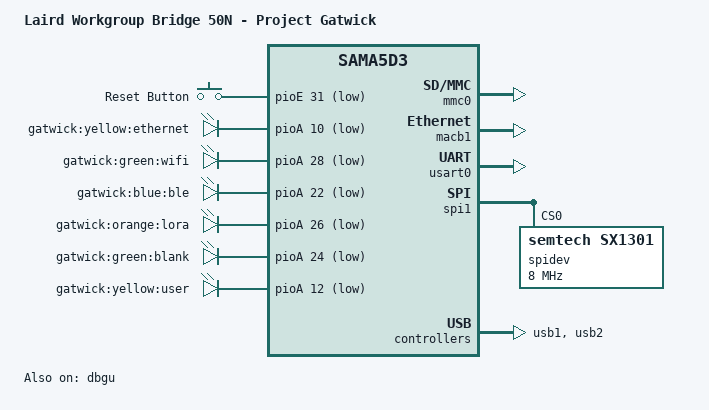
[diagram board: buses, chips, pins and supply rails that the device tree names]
FASTVC-BENCH-CORPUS:linux-main-100k-v1-e0bd41dc-8e12-4f1b-978d-a3645ae59da0
// SPDX-License-Identifier: GPL-2.0
/*
 * at91-gatwick.dts - Device Tree file for the Gatwick board
 *
 *  Copyright (C) 2018 Laird
 *
 */
/dts-v1/;
#include "at91-wb50n.dtsi"
#include <dt-bindings/input/input.h>

/ {
	model = "Laird Workgroup Bridge 50N - Project Gatwick";
	compatible = "laird,gatwick", "laird,wb50n", "atmel,sama5d31", "atmel,sama5d3", "atmel,sama5";

	gpio_keys {
		compatible = "gpio-keys";
		autorepeat;

		pinctrl-names = "default";
		pinctrl-0 = <&pinctrl_key_gpio>;

		reset-button {
			label = "Reset Button";
			linux,code = <KEY_SETUP>;
			gpios = <&pioE 31 GPIO_ACTIVE_LOW>;
			wakeup-source;
		};
	};

	leds {
		compatible = "gpio-leds";

		ethernet {
			label = "gatwick:yellow:ethernet";
			gpios = <&pioA 10 GPIO_ACTIVE_LOW>;
			default-state = "off";
		};

		wifi {
			label = "gatwick:green:wifi";
			gpios = <&pioA 28 GPIO_ACTIVE_LOW>;
			default-state = "off";
		};

		ble {
			label = "gatwick:blue:ble";
			gpios = <&pioA 22 GPIO_ACTIVE_LOW>;
			default-state = "off";
		};

		lora {
			label = "gatwick:orange:lora";
			gpios = <&pioA 26 GPIO_ACTIVE_LOW>;
			default-state = "off";
		};

		blank {
			label = "gatwick:green:blank";
			gpios = <&pioA 24 GPIO_ACTIVE_LOW>;
			default-state = "off";
		};

		user {
			label = "gatwick:yellow:user";
			gpios = <&pioA 12 GPIO_ACTIVE_LOW>;
			default-state = "off";
		};
	};
};

&pinctrl {
	board {
		pinctrl_key_gpio: key_gpio_0 {
		  atmel,pins =
			  <AT91_PIOE 31 AT91_PERIPH_GPIO AT91_PINCTRL_PULL_UP_DEGLITCH>; /* PE31 GPIO with pullup deglitch */
	  };
	};
};

&mmc0 {
	status = "okay";
};

&macb1 {
	status = "okay";
};

&dbgu {
	status = "okay";
};

/* FTDI USART */
&usart0 {
	status = "okay";
};

/* bench 12643.0.0 e76de079e29d */
/* bench 12643.0.1 b945ff33df07 */
/* bench 12643.0.2 d9a04bf83332 */
/* bench 12643.0.3 84f9d804f139 */
/* bench 12643.0.4 42c93d9f6b7f */
/* bench 12643.0.5 57bf8e96a93c */
/* bench 12643.0.6 fd9aa20c0cbd */
/* bench 12643.0.7 a8e452e0e234 */
/* bench 12643.0.8 c4a2d9516212 */
/* bench 12643.0.9 5319d6bea1b0 */
/* bench 12643.0.10 d8c847d9eb7d */
/* bench 12643.0.11 122e465604f0 */
	status = "okay";
};

&spi1 {
	status = "okay";

	spidev@0 {
		compatible = "semtech,sx1301";
		reg = <0>;
		spi-max-frequency = <8000000>;
	};
};

&usb1 {
	status = "okay";
	/delete-property/atmel,oc-gpio;
};

&usb2 {
	status = "okay";
};
